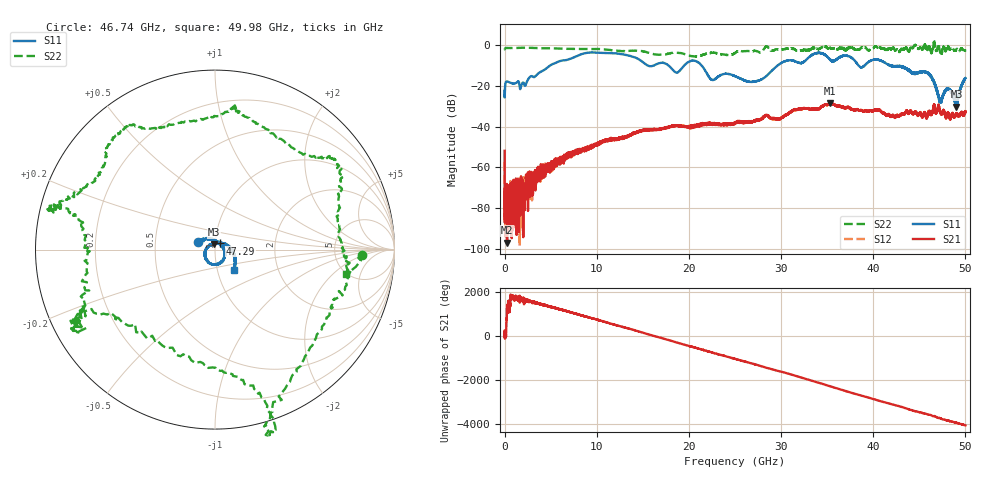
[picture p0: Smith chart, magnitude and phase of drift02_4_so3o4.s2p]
!Created with skrf (http://scikit-rf.org).
# Hz S RI R 50.0
!freq ReS11 ImS11 ReS21 ImS21 ReS12 ImS12 ReS22 ImS22
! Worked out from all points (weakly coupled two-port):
!   10001 points, 300 kHz to 50 GHz, reference 50 ohm
!   highest |S21| = -28.61 dB at 35.32 GHz (marker M1); lowest = -97.0 dB at 270.3 MHz (marker M2)
!   lowest |S11| = -30.3 dB at 49.03 GHz (marker M3), VSWR 1.06, Z = 49.2 + j2.94 ohm
!   |S11| at or under -10 dB: start of sweep to 4.957 GHz; 21.38 GHz to 29.63 GHz (8.252 GHz wide, 32.4 % of centre); 41.84 GHz to end of sweep (the widest 3 of 11)
!   |S22| runs from -5.7 to 2.3 dB; largest |S21 - S12| = 0.0038
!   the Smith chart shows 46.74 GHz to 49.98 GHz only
!   S11 on the Smith chart (normalised r, x): 46.74 GHz: 0.83, +0.07; 47.29 GHz: 1.06, +0.07; 49.98 GHz: 1.20, -0.27
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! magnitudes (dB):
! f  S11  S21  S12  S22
! 300 kHz  -22.4  -51.9  -57.6  -2.1
! 270.3 MHz  -17.9  -97.0  -71.9  -1.4
! 1.87 GHz  -19.1  -73.0  -71.0  -1.3
! 3.8 GHz  -13.5  -62.0  -61.6  -1.5
! 8.335 GHz  -4.5  -51.1  -51.3  -1.9
! 16.67 GHz  -9.1  -41.4  -41.4  -4.8
! 18.69 GHz  -13.5  -39.5  -39.5  -3.8
! 20.6 GHz  -7.7  -39.9  -39.4  -5.6
! 22.49 GHz  -17.1  -39.0  -38.9  -3.7
! 25 GHz  -15.3  -38.3  -38.3  -3.9
! 27.46 GHz  -17.6  -36.9  -36.6  -3.1
! 30.22 GHz  -8.4  -35.4  -35.2  -2.1
! 33.34 GHz  -4.9  -31.3  -31.2  -1.5
! 35.32 GHz  -7.2  -28.6  -28.8  -1.4
! 41.67 GHz  -9.6  -34.3  -34.2  -1.9
! 45.76 GHz  -13.4  -35.4  -35.6  -1.7
! 46.74 GHz  -19.7  -32.8  -32.3  -1.8
! 47.29 GHz  -26.9  -33.1  -32.9  -3.7
! 48.14 GHz  -21.5  -33.1  -33.3  -0.7
! 49.03 GHz  -30.3  -33.6  -34.2  -2.1
! 49.98 GHz  -16.3  -32.7  -32.9  -2.6
! 50 GHz  -16.3  -32.6  -32.7  -2.7
